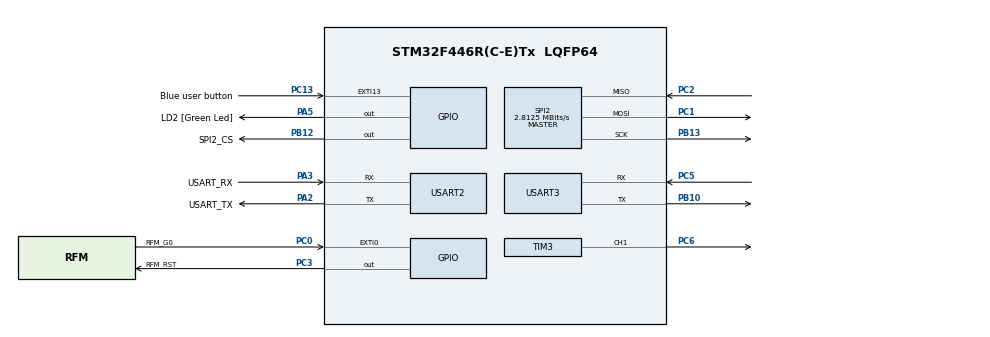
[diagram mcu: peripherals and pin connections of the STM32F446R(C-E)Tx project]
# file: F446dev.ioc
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Dma.Request0=USART2_TX
Dma.USART2_TX.0.Direction=DMA_MEMORY_TO_PERIPH
Dma.USART2_TX.0.FIFOMode=DMA_FIFOMODE_DISABLE
Dma.USART2_TX.0.Instance=DMA1_Stream6
Dma.USART2_TX.0.MemDataAlignment=DMA_MDATAALIGN_BYTE
Dma.USART2_TX.0.MemInc=DMA_MINC_ENABLE
Dma.USART2_TX.0.Mode=DMA_NORMAL
Dma.USART2_TX.0.PeriphDataAlignment=DMA_PDATAALIGN_BYTE
Dma.USART2_TX.0.PeriphInc=DMA_PINC_DISABLE
Dma.USART2_TX.0.Priority=DMA_PRIORITY_LOW
Mcu.Family=STM32F4
Mcu.Name=STM32F446R(C-E)Tx
Mcu.Package=LQFP64
NVIC.DMA1_Stream6_IRQn=true\:0\:0\:false\:false\:true\:false\:true\:true
NVIC.EXTI0_IRQn=true\:0\:0\:false\:false\:true\:true\:true\:true
NVIC.EXTI15_10_IRQn=true\:0\:0\:false\:false\:true\:true\:true\:true
NVIC.PriorityGroup=NVIC_PRIORITYGROUP_0
NVIC.USART3_IRQn=true\:0\:0\:false\:false\:true\:true\:true\:true
PA13.GPIO_Label=TMS
PA13.Mode=Serial_Wire
PA13.Signal=SYS_JTMS-SWDIO
PA14.GPIO_Label=TCK
PA14.Mode=Serial_Wire
PA14.Signal=SYS_JTCK-SWCLK
PA2.GPIO_Label=USART_TX
PA2.Mode=Asynchronous
PA2.Signal=USART2_TX
PA3.GPIO_Label=USART_RX
PA3.Mode=Asynchronous
PA3.Signal=USART2_RX
PA5.GPIO_Label=LD2 [Green Led]
PA5.Signal=GPIO_Output
PB10.Mode=Asynchronous
PB10.Signal=USART3_TX
PB12.GPIO_Label=SPI2_CS
PB12.GPIO_Speed=GPIO_SPEED_FREQ_VERY_HIGH
PB12.PinState=GPIO_PIN_SET
PB12.Signal=GPIO_Output
PB13.Mode=Full_Duplex_Master
PB13.Signal=SPI2_SCK
PB3.GPIO_Label=SWO
PB3.Signal=SYS_JTDO-SWO
PC0.GPIO_Label=RFM_G0
PC0.Signal=GPXTI0
PC1.Mode=Full_Duplex_Master
PC1.Signal=SPI2_MOSI
PC13.GPIO_Label=Blue user button
PC13.GPIO_ModeDefaultEXTI=GPIO_MODE_IT_FALLING
PC13.GPIO_PuPd=GPIO_PULLUP
PC13.Signal=GPXTI13
PC14-OSC32_IN.Mode=LSE-External-Oscillator
PC14-OSC32_IN.Signal=RCC_OSC32_IN
PC15-OSC32_OUT.Mode=LSE-External-Oscillator
PC15-OSC32_OUT.Signal=RCC_OSC32_OUT
PC2.Mode=Full_Duplex_Master
PC2.Signal=SPI2_MISO
PC3.GPIO_Label=RFM_RST
PC3.GPIO_Speed=GPIO_SPEED_FREQ_VERY_HIGH
PC3.PinState=GPIO_PIN_SET
PC3.Signal=GPIO_Output
PC5.Mode=Asynchronous
PC5.Signal=USART3_RX
PC6.Signal=S_TIM3_CH1
PH0-OSC_IN.Mode=HSE-External-Oscillator
PH0-OSC_IN.Signal=RCC_OSC_IN
PH1-OSC_OUT.Mode=HSE-External-Oscillator
PH1-OSC_OUT.Signal=RCC_OSC_OUT
ProjectManager.HeapSize=0x200
ProjectManager.StackSize=0x400
ProjectManager.TargetToolchain=STM32CubeIDE
RCC.48MHZClocksFreq_Value=84000000
RCC.AHBFreq_Value=180000000
RCC.APB1CLKDivider=RCC_HCLK_DIV4
RCC.APB1Freq_Value=45000000
RCC.APB1TimFreq_Value=90000000
RCC.APB2CLKDivider=RCC_HCLK_DIV2
RCC.APB2Freq_Value=90000000
RCC.APB2TimFreq_Value=180000000
RCC.CortexFreq_Value=180000000
RCC.FLatency-AdvancedSettings=FLASH_LATENCY_5
RCC.HCLKFreq_Value=180000000
RCC.HSE_VALUE=8000000
RCC.HSI_VALUE=16000000
RCC.PLLM=8
RCC.PLLN=180
RCC.SYSCLKFreq_VALUE=180000000
RCC.SYSCLKSource=RCC_SYSCLKSOURCE_PLLCLK
RCC.USBFreq_Value=180000000
RCC.VCOOutputFreq_Value=360000000
SH.S_TIM3_CH1.0=TIM3_CH1,PWM Generation1 CH1
SPI2.BaudRatePrescaler=SPI_BAUDRATEPRESCALER_16
SPI2.CalculateBaudRate=2.8125 MBits/s
SPI2.DataSize=SPI_DATASIZE_8BIT
SPI2.Direction=SPI_DIRECTION_2LINES
SPI2.Mode=SPI_MODE_MASTER
SPI2.VirtualType=VM_MASTER
TIM3.Channel-PWM\ Generation1\ CH1=TIM_CHANNEL_1
TIM3.CounterMode=TIM_COUNTERMODE_UP
TIM3.Period=9
TIM3.Prescaler=44999
USART2.VirtualMode=VM_ASYNC
USART3.VirtualMode=VM_ASYNC
VP_TIM3_VS_ClockSourceINT.Mode=Internal
board=NUCLEO-F446RE

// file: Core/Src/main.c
/* USER CODE BEGIN Header */
/**
  ******************************************************************************
  * @file           : main.c
  * @brief          : Main program body
  ******************************************************************************
  * @attention
  *
  * Copyright (c) 2024 STMicroelectronics.
  * All rights reserved.
  *
  * This software is licensed under terms that can be found in the LICENSE file
  * in the root directory of this software component.
  * If no LICENSE file comes with this software, it is provided AS-IS.
  *
  ******************************************************************************
  */
/* USER CODE END Header */
#include "main.h"

/* USER CODE BEGIN Includes */
#include "stm32f4xx_it.h"
#include "LoRa.h"
/* USER CODE END Includes */

SPI_HandleTypeDef hspi2;

void SystemClock_Config(void);
static void MX_GPIO_Init(void);
static void MX_DMA_Init(void);
static void MX_USART2_UART_Init(void);
static void MX_USART3_UART_Init(void);
static void MX_TIM3_Init(void);
static void MX_SPI2_Init(void);

int main(void)
{

  /* MCU Configuration--------------------------------------------------------*/

  /* Reset of all peripherals, Initializes the Flash interface and the Systick. */
  HAL_Init();

  /* Configure the system clock */
  SystemClock_Config();

  /* Initialize all configured peripherals */
  MX_GPIO_Init();
  MX_DMA_Init();
  MX_USART2_UART_Init();
  MX_USART3_UART_Init();
  MX_TIM3_Init();
  MX_SPI2_Init();

  /* Infinite loop */
  /* USER CODE BEGIN WHILE */
  uint8_t welcome_msg[] = "\e[2J\e[HAMP Kart UART Interface\r\n=======================\r\n";
//  HAL_UART_Transmit_IT(&huart2, welcome_msg, sizeof(welcome_msg));
  for (int i = 0; i < sizeof(welcome_msg); i++)
  {
	  LL_USART_TransmitData8(USART2, welcome_msg[i]);
	  while (!LL_USART_IsActiveFlag_TXE(USART2));
  }

  LoRa lora;
  lora = newLoRa();

  lora.CS_port = SPI2_CS_GPIO_Port;
  lora.CS_pin = SPI2_CS_Pin;
  lora.reset_port = RFM_RST_GPIO_Port;
  lora.reset_pin = RFM_RST_Pin;
  lora.DIO0_port = RFM_G0_GPIO_Port;
  lora.DIO0_pin = RFM_G0_Pin;
  lora.hSPIx = &hspi2;

  lora.frequency = 915;

  LoRa_reset(&lora);
  uint16_t lora_status = LoRa_init(&lora);
  if (lora_status == LORA_OK)
  {
  	  uint8_t msg[] = "LoRa OK\r\n";
  	  //  HAL_UART_Transmit_IT(&huart2, welcome_msg, sizeof(welcome_msg));
  	  for (int i = 0; i < sizeof(msg); i++)
  	  {
  		  LL_USART_TransmitData8(USART2, msg[i]);
  		  while (!LL_USART_IsActiveFlag_TXE(USART2));
  	  }
  }
  else
  {
  	  uint8_t msg[] = "LoRa FAILED\r\n";
  	  //  HAL_UART_Transmit_IT(&huart2, welcome_msg, sizeof(welcome_msg));
  	  for (int i = 0; i < sizeof(msg); i++)
  	  {
  		  LL_USART_TransmitData8(USART2, msg[i]);
  		  while (!LL_USART_IsActiveFlag_TXE(USART2));
  	  }
  }

  // read version number from RFM95W
//  LL_GPIO_ResetOutputPin(GPIOC, LL_GPIO_PIN_3); // RFM95W RST
//  LL_GPIO_ResetOutputPin(GPIOB, LL_GPIO_PIN_12); // SPI2 CS
//  uint16_t RFM95_REGISTER_VERSION = 0x42 << 8;
//  LL_SPI_TransmitData16(SPI2, RFM95_REGISTER_VERSION);
//  LL_GPIO_SetOutputPin(GPIOA, LL_GPIO_PIN_5);
//  uint8_t recv_data = LL_SPI_ReceiveData8(SPI2);
//  LL_GPIO_SetOutputPin(GPIOB, LL_GPIO_PIN_12); // SPI2 CS
//  printf(recv_data);

  uint8_t recv_data[200];
  uint8_t packet_size;
  LoRa_startReceiving(&lora);
  while (1)
  {
	  LL_GPIO_SetOutputPin(LD2_GPIO_Port, LD2_Pin);
	  packet_size = LoRa_receive(&lora, recv_data, 8);
	  LL_GPIO_ResetOutputPin(LD2_GPIO_Port, LD2_Pin);
	  if (packet_size > 0)
	  {
		  // data was received
		  for (int i = 0; i < packet_size; i++)
		  {
			  LL_USART_TransmitData8(USART2, recv_data[i]);
			  while (!LL_USART_IsActiveFlag_TXE(USART2));
		  }

		  uint8_t msg[] = "\r\n";
		  for (int i = 0; i < sizeof(msg); i++)
		  {
			  LL_USART_TransmitData8(USART2, msg[i]);
			  while (!LL_USART_IsActiveFlag_TXE(USART2));
		  }
	  }
	  else
	  {
		  uint8_t msg[] = "Nothing received!\r\n";
		  //  HAL_UART_Transmit_IT(&huart2, welcome_msg, sizeof(welcome_msg));
		  for (int i = 0; i < sizeof(msg); i++)
		  {
			  LL_USART_TransmitData8(USART2, msg[i]);
			  while (!LL_USART_IsActiveFlag_TXE(USART2));
		  }
	  }
	  HAL_Delay(100);
    /* USER CODE END WHILE */

  }
}

void SystemClock_Config(void)
{
  LL_FLASH_SetLatency(LL_FLASH_LATENCY_5);
  while(LL_FLASH_GetLatency()!= LL_FLASH_LATENCY_5)
  {
  }
  LL_PWR_SetRegulVoltageScaling(LL_PWR_REGU_VOLTAGE_SCALE1);
  LL_PWR_EnableOverDriveMode();
  LL_RCC_HSI_SetCalibTrimming(16);
  LL_RCC_HSI_Enable();

   /* Wait till HSI is ready */
  while(LL_RCC_HSI_IsReady() != 1)
  {

  }
  LL_RCC_PLL_ConfigDomain_SYS(LL_RCC_PLLSOURCE_HSI, LL_RCC_PLLM_DIV_8, 180, LL_RCC_PLLP_DIV_2);
  LL_RCC_PLL_Enable();

   /* Wait till PLL is ready */
  while(LL_RCC_PLL_IsReady() != 1)
  {

  }
  while (LL_PWR_IsActiveFlag_VOS() == 0)
  {
  }
  LL_RCC_SetAHBPrescaler(LL_RCC_SYSCLK_DIV_1);
  LL_RCC_SetAPB1Prescaler(LL_RCC_APB1_DIV_4);
  LL_RCC_SetAPB2Prescaler(LL_RCC_APB2_DIV_2);
  LL_RCC_SetSysClkSource(LL_RCC_SYS_CLKSOURCE_PLL);

   /* Wait till System clock is ready */
  while(LL_RCC_GetSysClkSource() != LL_RCC_SYS_CLKSOURCE_STATUS_PLL)
  {

  }
  LL_SetSystemCoreClock(180000000);

   /* Update the time base */
  if (HAL_InitTick (TICK_INT_PRIORITY) != HAL_OK)
  {
    Error_Handler();
  }
  LL_RCC_SetTIMPrescaler(LL_RCC_TIM_PRESCALER_TWICE);
}

static void MX_SPI2_Init(void)
{

  /* SPI2 parameter configuration*/
  hspi2.Instance = SPI2;
  hspi2.Init.Mode = SPI_MODE_MASTER;
  hspi2.Init.Direction = SPI_DIRECTION_2LINES;
  hspi2.Init.DataSize = SPI_DATASIZE_8BIT;
  hspi2.Init.CLKPolarity = SPI_POLARITY_LOW;
  hspi2.Init.CLKPhase = SPI_PHASE_1EDGE;
  hspi2.Init.NSS = SPI_NSS_SOFT;
  hspi2.Init.BaudRatePrescaler = SPI_BAUDRATEPRESCALER_16;
  hspi2.Init.FirstBit = SPI_FIRSTBIT_MSB;
  hspi2.Init.TIMode = SPI_TIMODE_DISABLE;
  hspi2.Init.CRCCalculation = SPI_CRCCALCULATION_DISABLE;
  hspi2.Init.CRCPolynomial = 10;
  if (HAL_SPI_Init(&hspi2) != HAL_OK)
  {
    Error_Handler();
  }
  /* USER CODE BEGIN SPI2_Init 2 */
//  LL_SPI_Enable(SPI2);
  /* USER CODE END SPI2_Init 2 */

}

static void MX_TIM3_Init(void)
{

  LL_TIM_InitTypeDef TIM_InitStruct = {0};
  LL_TIM_OC_InitTypeDef TIM_OC_InitStruct = {0};

  LL_GPIO_InitTypeDef GPIO_InitStruct = {0};

  /* Peripheral clock enable */
  LL_APB1_GRP1_EnableClock(LL_APB1_GRP1_PERIPH_TIM3);

  /* USER CODE BEGIN TIM3_Init 1 */
  LL_TIM_OC_SetCompareCH1(TIM3, 5); // 50% PWM
  /* USER CODE END TIM3_Init 1 */
  TIM_InitStruct.Prescaler = 44999;
  TIM_InitStruct.CounterMode = LL_TIM_COUNTERMODE_UP;
  TIM_InitStruct.Autoreload = 9;
  TIM_InitStruct.ClockDivision = LL_TIM_CLOCKDIVISION_DIV1;
  LL_TIM_Init(TIM3, &TIM_InitStruct);
  LL_TIM_DisableARRPreload(TIM3);
  LL_TIM_SetClockSource(TIM3, LL_TIM_CLOCKSOURCE_INTERNAL);
  LL_TIM_OC_EnablePreload(TIM3, LL_TIM_CHANNEL_CH1);
  TIM_OC_InitStruct.OCMode = LL_TIM_OCMODE_PWM1;
  TIM_OC_InitStruct.OCState = LL_TIM_OCSTATE_DISABLE;
  TIM_OC_InitStruct.OCNState = LL_TIM_OCSTATE_DISABLE;
  TIM_OC_InitStruct.CompareValue = 0;
  TIM_OC_InitStruct.OCPolarity = LL_TIM_OCPOLARITY_HIGH;
  LL_TIM_OC_Init(TIM3, LL_TIM_CHANNEL_CH1, &TIM_OC_InitStruct);
  LL_TIM_OC_DisableFast(TIM3, LL_TIM_CHANNEL_CH1);
  LL_TIM_SetTriggerOutput(TIM3, LL_TIM_TRGO_RESET);
  LL_TIM_DisableMasterSlaveMode(TIM3);
  LL_AHB1_GRP1_EnableClock(LL_AHB1_GRP1_PERIPH_GPIOC);
  /**TIM3 GPIO Configuration
  PC6   ------> TIM3_CH1
  */
  GPIO_InitStruct.Pin = LL_GPIO_PIN_6;
  GPIO_InitStruct.Mode = LL_GPIO_MODE_ALTERNATE;
  GPIO_InitStruct.Speed = LL_GPIO_SPEED_FREQ_LOW;
  GPIO_InitStruct.OutputType = LL_GPIO_OUTPUT_PUSHPULL;
  GPIO_InitStruct.Pull = LL_GPIO_PULL_NO;
  GPIO_InitStruct.Alternate = LL_GPIO_AF_2;
  LL_GPIO_Init(GPIOC, &GPIO_InitStruct);

}

static void MX_USART2_UART_Init(void)
{

  LL_USART_InitTypeDef USART_InitStruct = {0};

  LL_GPIO_InitTypeDef GPIO_InitStruct = {0};

  /* Peripheral clock enable */
  LL_APB1_GRP1_EnableClock(LL_APB1_GRP1_PERIPH_USART2);

  LL_AHB1_GRP1_EnableClock(LL_AHB1_GRP1_PERIPH_GPIOA);
  /**USART2 GPIO Configuration
  PA2   ------> USART2_TX
  PA3   ------> USART2_RX
  */
  GPIO_InitStruct.Pin = USART_TX_Pin|USART_RX_Pin;
  GPIO_InitStruct.Mode = LL_GPIO_MODE_ALTERNATE;
  GPIO_InitStruct.Speed = LL_GPIO_SPEED_FREQ_VERY_HIGH;
  GPIO_InitStruct.OutputType = LL_GPIO_OUTPUT_PUSHPULL;
  GPIO_InitStruct.Pull = LL_GPIO_PULL_NO;
  GPIO_InitStruct.Alternate = LL_GPIO_AF_7;
  LL_GPIO_Init(GPIOA, &GPIO_InitStruct);

  /* USART2 DMA Init */

  /* USART2_TX Init */
  LL_DMA_SetChannelSelection(DMA1, LL_DMA_STREAM_6, LL_DMA_CHANNEL_4);

  LL_DMA_SetDataTransferDirection(DMA1, LL_DMA_STREAM_6, LL_DMA_DIRECTION_MEMORY_TO_PERIPH);

  LL_DMA_SetStreamPriorityLevel(DMA1, LL_DMA_STREAM_6, LL_DMA_PRIORITY_LOW);

  LL_DMA_SetMode(DMA1, LL_DMA_STREAM_6, LL_DMA_MODE_NORMAL);

  LL_DMA_SetPeriphIncMode(DMA1, LL_DMA_STREAM_6, LL_DMA_PERIPH_NOINCREMENT);

  LL_DMA_SetMemoryIncMode(DMA1, LL_DMA_STREAM_6, LL_DMA_MEMORY_INCREMENT);

  LL_DMA_SetPeriphSize(DMA1, LL_DMA_STREAM_6, LL_DMA_PDATAALIGN_BYTE);

  LL_DMA_SetMemorySize(DMA1, LL_DMA_STREAM_6, LL_DMA_MDATAALIGN_BYTE);

  LL_DMA_DisableFifoMode(DMA1, LL_DMA_STREAM_6);

  /* USER CODE BEGIN USART2_Init 1 */
  LL_USART_EnableIT_RXNE(USART2);

  // DMA for TX
  LL_USART_EnableDMAReq_TX(USART2);

  LL_DMA_ConfigAddresses(DMA1, LL_DMA_STREAM_6, (uint32_t) buffer, LL_USART_DMA_GetRegAddr(USART2), LL_DMA_DIRECTION_MEMORY_TO_PERIPH);
  LL_DMA_EnableIT_TC(DMA1, LL_DMA_STREAM_6);
  LL_DMA_SetDataLength(DMA1, LL_DMA_STREAM_6, sizeof(buffer));
//  LL_DMA_DisableStream(DMA1, LL_DMA_STREAM_6);
//  LL_DMA_SetDataLength(DMA1, LL_DMA_STREAM_6, 5);

  /* USER CODE END USART2_Init 1 */
  USART_InitStruct.BaudRate = 115200;
  USART_InitStruct.DataWidth = LL_USART_DATAWIDTH_8B;
  USART_InitStruct.StopBits = LL_USART_STOPBITS_1;
  USART_InitStruct.Parity = LL_USART_PARITY_NONE;
  USART_InitStruct.TransferDirection = LL_USART_DIRECTION_TX_RX;
  USART_InitStruct.HardwareFlowControl = LL_USART_HWCONTROL_NONE;
  USART_InitStruct.OverSampling = LL_USART_OVERSAMPLING_16;
  LL_USART_Init(USART2, &USART_InitStruct);
  LL_USART_ConfigAsyncMode(USART2);
  LL_USART_Enable(USART2);

}

static void MX_USART3_UART_Init(void)
{

  LL_USART_InitTypeDef USART_InitStruct = {0};

  LL_GPIO_InitTypeDef GPIO_InitStruct = {0};

  /* Peripheral clock enable */
  LL_APB1_GRP1_EnableClock(LL_APB1_GRP1_PERIPH_USART3);

  LL_AHB1_GRP1_EnableClock(LL_AHB1_GRP1_PERIPH_GPIOC);
  LL_AHB1_GRP1_EnableClock(LL_AHB1_GRP1_PERIPH_GPIOB);
  /**USART3 GPIO Configuration
  PC5   ------> USART3_RX
  PB10   ------> USART3_TX
  */
  GPIO_InitStruct.Pin = LL_GPIO_PIN_5;
  GPIO_InitStruct.Mode = LL_GPIO_MODE_ALTERNATE;
  GPIO_InitStruct.Speed = LL_GPIO_SPEED_FREQ_VERY_HIGH;
  GPIO_InitStruct.OutputType = LL_GPIO_OUTPUT_PUSHPULL;
  GPIO_InitStruct.Pull = LL_GPIO_PULL_NO;
  GPIO_InitStruct.Alternate = LL_GPIO_AF_7;
  LL_GPIO_Init(GPIOC, &GPIO_InitStruct);

  GPIO_InitStruct.Pin = LL_GPIO_PIN_10;
  GPIO_InitStruct.Mode = LL_GPIO_MODE_ALTERNATE;
  GPIO_InitStruct.Speed = LL_GPIO_SPEED_FREQ_VERY_HIGH;
  GPIO_InitStruct.OutputType = LL_GPIO_OUTPUT_PUSHPULL;
  GPIO_InitStruct.Pull = LL_GPIO_PULL_NO;
  GPIO_InitStruct.Alternate = LL_GPIO_AF_7;
  LL_GPIO_Init(GPIOB, &GPIO_InitStruct);

  /* USART3 interrupt Init */
  NVIC_SetPriority(USART3_IRQn, NVIC_EncodePriority(NVIC_GetPriorityGrouping(),0, 0));
  NVIC_EnableIRQ(USART3_IRQn);

  /* USER CODE BEGIN USART3_Init 1 */
  LL_USART_EnableIT_RXNE(USART3);

  /* USER CODE END USART3_Init 1 */
  USART_InitStruct.BaudRate = 115200;
  USART_InitStruct.DataWidth = LL_USART_DATAWIDTH_8B;
  USART_InitStruct.StopBits = LL_USART_STOPBITS_1;
  USART_InitStruct.Parity = LL_USART_PARITY_NONE;
  USART_InitStruct.TransferDirection = LL_USART_DIRECTION_TX_RX;
  USART_InitStruct.HardwareFlowControl = LL_USART_HWCONTROL_NONE;
  USART_InitStruct.OverSampling = LL_USART_OVERSAMPLING_16;
  LL_USART_Init(USART3, &USART_InitStruct);
  LL_USART_ConfigAsyncMode(USART3);
  LL_USART_Enable(USART3);

}

static void MX_DMA_Init(void)
{

  /* Init with LL driver */
  /* DMA controller clock enable */
  LL_AHB1_GRP1_EnableClock(LL_AHB1_GRP1_PERIPH_DMA1);

  /* DMA interrupt init */
  /* DMA1_Stream6_IRQn interrupt configuration */
  NVIC_SetPriority(DMA1_Stream6_IRQn, NVIC_EncodePriority(NVIC_GetPriorityGrouping(),0, 0));
  NVIC_EnableIRQ(DMA1_Stream6_IRQn);

}

static void MX_GPIO_Init(void)
{
  LL_EXTI_InitTypeDef EXTI_InitStruct = {0};
  LL_GPIO_InitTypeDef GPIO_InitStruct = {0};

  /* GPIO Ports Clock Enable */
  LL_AHB1_GRP1_EnableClock(LL_AHB1_GRP1_PERIPH_GPIOC);
  LL_AHB1_GRP1_EnableClock(LL_AHB1_GRP1_PERIPH_GPIOH);
  LL_AHB1_GRP1_EnableClock(LL_AHB1_GRP1_PERIPH_GPIOA);
  LL_AHB1_GRP1_EnableClock(LL_AHB1_GRP1_PERIPH_GPIOB);

  /**/
  LL_GPIO_SetOutputPin(RFM_RST_GPIO_Port, RFM_RST_Pin);

  /**/
  LL_GPIO_SetOutputPin(SPI2_CS_GPIO_Port, SPI2_CS_Pin);

  /**/
  LL_GPIO_ResetOutputPin(LD2_GPIO_Port, LD2_Pin);

  /**/
  LL_SYSCFG_SetEXTISource(LL_SYSCFG_EXTI_PORTC, LL_SYSCFG_EXTI_LINE13);

  /**/
  LL_SYSCFG_SetEXTISource(LL_SYSCFG_EXTI_PORTC, LL_SYSCFG_EXTI_LINE0);

  /**/
  EXTI_InitStruct.Line_0_31 = LL_EXTI_LINE_13;
  EXTI_InitStruct.LineCommand = ENABLE;
  EXTI_InitStruct.Mode = LL_EXTI_MODE_IT;
  EXTI_InitStruct.Trigger = LL_EXTI_TRIGGER_FALLING;
  LL_EXTI_Init(&EXTI_InitStruct);

  /**/
  EXTI_InitStruct.Line_0_31 = LL_EXTI_LINE_0;
  EXTI_InitStruct.LineCommand = ENABLE;
  EXTI_InitStruct.Mode = LL_EXTI_MODE_IT;
  EXTI_InitStruct.Trigger = LL_EXTI_TRIGGER_RISING;
  LL_EXTI_Init(&EXTI_InitStruct);

  /**/
  LL_GPIO_SetPinPull(Blue_user_button_GPIO_Port, Blue_user_button_Pin, LL_GPIO_PULL_UP);

  /**/
  LL_GPIO_SetPinPull(RFM_G0_GPIO_Port, RFM_G0_Pin, LL_GPIO_PULL_NO);

  /**/
  LL_GPIO_SetPinMode(Blue_user_button_GPIO_Port, Blue_user_button_Pin, LL_GPIO_MODE_INPUT);

  /**/
  LL_GPIO_SetPinMode(RFM_G0_GPIO_Port, RFM_G0_Pin, LL_GPIO_MODE_INPUT);

  /**/
  GPIO_InitStruct.Pin = RFM_RST_Pin;
  GPIO_InitStruct.Mode = LL_GPIO_MODE_OUTPUT;
  GPIO_InitStruct.Speed = LL_GPIO_SPEED_FREQ_VERY_HIGH;
  GPIO_InitStruct.OutputType = LL_GPIO_OUTPUT_PUSHPULL;
  GPIO_InitStruct.Pull = LL_GPIO_PULL_NO;
  LL_GPIO_Init(RFM_RST_GPIO_Port, &GPIO_InitStruct);

  /**/
  GPIO_InitStruct.Pin = LD2_Pin;
  GPIO_InitStruct.Mode = LL_GPIO_MODE_OUTPUT;
  GPIO_InitStruct.Speed = LL_GPIO_SPEED_FREQ_LOW;
  GPIO_InitStruct.OutputType = LL_GPIO_OUTPUT_PUSHPULL;
  GPIO_InitStruct.Pull = LL_GPIO_PULL_NO;
  LL_GPIO_Init(LD2_GPIO_Port, &GPIO_InitStruct);

  /**/
  GPIO_InitStruct.Pin = SPI2_CS_Pin;
  GPIO_InitStruct.Mode = LL_GPIO_MODE_OUTPUT;
  GPIO_InitStruct.Speed = LL_GPIO_SPEED_FREQ_VERY_HIGH;
  GPIO_InitStruct.OutputType = LL_GPIO_OUTPUT_PUSHPULL;
  GPIO_InitStruct.Pull = LL_GPIO_PULL_NO;
  LL_GPIO_Init(SPI2_CS_GPIO_Port, &GPIO_InitStruct);

  /* EXTI interrupt init*/
  NVIC_SetPriority(EXTI0_IRQn, NVIC_EncodePriority(NVIC_GetPriorityGrouping(),0, 0));
  NVIC_EnableIRQ(EXTI0_IRQn);
  NVIC_SetPriority(EXTI15_10_IRQn, NVIC_EncodePriority(NVIC_GetPriorityGrouping(),0, 0));
  NVIC_EnableIRQ(EXTI15_10_IRQn);

}

void Error_Handler(void)
{
  __disable_irq();
  while (1)
  {
  }
}
